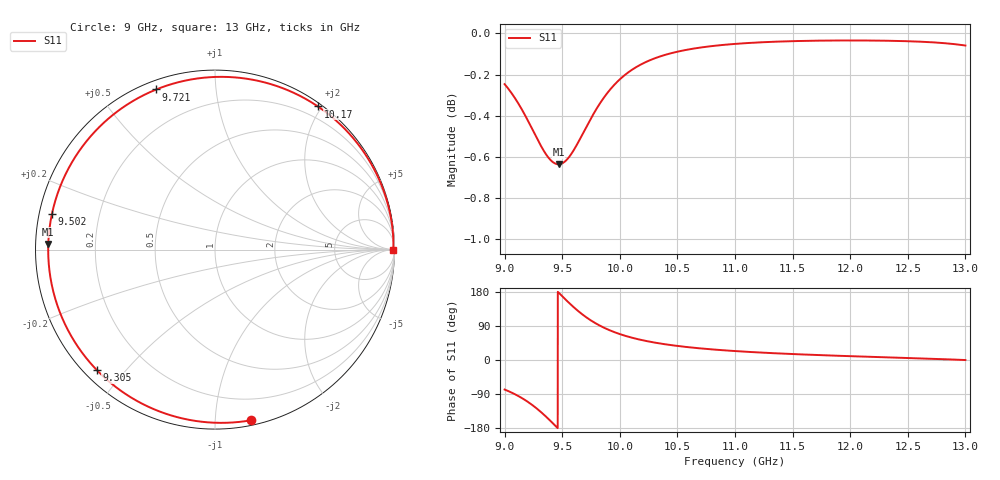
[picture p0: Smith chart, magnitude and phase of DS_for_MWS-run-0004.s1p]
! TOUCHSTONE file generated by CST DESIGN STUDIO
! Date and time: Tue Feb  4 14:25:30 2025
! Project name: C:\Work\MatlabApps\UnitCellOptimizationMatlab\CST\unitcell.cst
! Tree item: Tasks\Sweep1\SPara1\S-Parameters
! Header version: 2024
! Port assignment regex: !\s*Touchstone port\s*([0-9]+)\s*=\s*(CST MWS port|CST DES external port|CST DES block port)\s*(.+)\s* \(\"(.*)\"\)(\s*mode\s*([0-9]+))?.*
! Touchstone port assignment:
! Touchstone port 1 = CST DES external port 1 ("")
# GHz S MA R 50
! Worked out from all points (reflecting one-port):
!   4001 points, 9 GHz to 13 GHz, reference 50 ohm
!   lowest |S11| = -0.6 dB at 9.468 GHz (marker M1), VSWR 27.32, Z = 1.83 + j0.841 ohm
!   phase of S11 starts at -78 deg and turns -282 deg over the sweep
!   S11 on the Smith chart (normalised r, x): 9 GHz: 0.04, -1.24; 9.305 GHz: 0.04, -0.42; 9.502 GHz: 0.04, +0.11; 9.721 GHz: 0.04, +0.70; 10.17 GHz: 0.04, +1.95; 13 GHz: open
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9  0.972 -77.9
9.076  0.9657 -88.2
9.173  0.9557 -104.7
9.241  0.9477 -119.0
9.305  0.9402 -134.6
9.348  0.9356 -146.2
9.393  0.932 -159.2
9.431  0.93 -170.6
9.468  0.9294 178.1
9.5  0.9299 168.3
9.502  0.9299 167.7
9.554  0.9327 152.2
9.614  0.9382 135.5
9.666  0.944 122.4
9.721  0.9503 110.1
9.776  0.9564 99.4
9.837  0.9625 89.1
9.917  0.9691 77.9
10  0.9746 68.4
10.166  0.9822 54.3
10.318  0.9865 45.2
10.5  0.9898 37.1
10.722  0.9923 30.0
11  0.9941 23.6
11.5  0.9957 15.7
12  0.9961 10.1
12.5  0.9956 5.3
13  0.9932 -0.1
